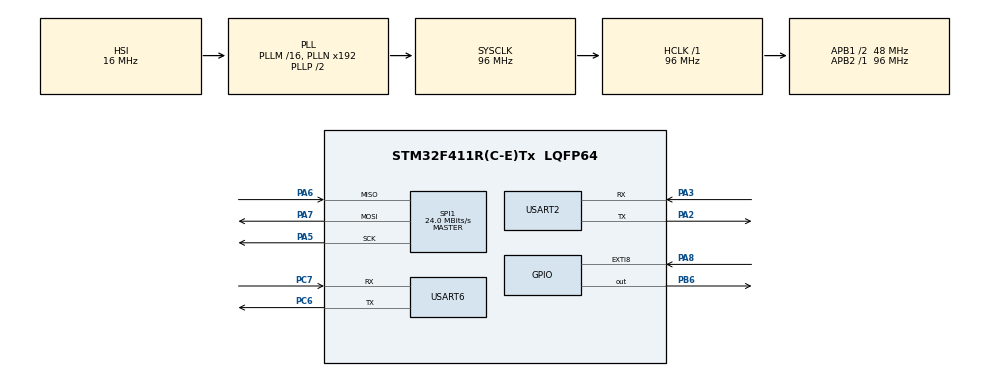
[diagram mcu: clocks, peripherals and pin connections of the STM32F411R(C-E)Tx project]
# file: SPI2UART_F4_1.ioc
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Mcu.Family=STM32F4
Mcu.Name=STM32F411R(C-E)Tx
Mcu.Package=LQFP64
NVIC.EXTI9_5_IRQn=true\:0\:0\:false\:false\:true\:true\:true
NVIC.PriorityGroup=NVIC_PRIORITYGROUP_4
NVIC.RCC_IRQn=true\:0\:0\:false\:false\:true\:true\:false
NVIC.SPI1_IRQn=true\:0\:0\:false\:false\:true\:true\:true
NVIC.USART2_IRQn=true\:0\:0\:false\:false\:true\:true\:true
NVIC.USART6_IRQn=true\:0\:0\:false\:false\:true\:true\:true
PA13.Mode=Serial_Wire
PA13.Signal=SYS_JTMS-SWDIO
PA14.Mode=Serial_Wire
PA14.Signal=SYS_JTCK-SWCLK
PA2.Mode=Asynchronous
PA2.Signal=USART2_TX
PA3.Mode=Asynchronous
PA3.Signal=USART2_RX
PA5.Mode=Full_Duplex_Master
PA5.Signal=SPI1_SCK
PA6.Mode=Full_Duplex_Master
PA6.Signal=SPI1_MISO
PA7.Mode=Full_Duplex_Master
PA7.Signal=SPI1_MOSI
PA8.GPIO_ModeDefaultEXTI=GPIO_MODE_IT_RISING
PA8.GPIO_PuPd=GPIO_NOPULL
PA8.Signal=GPXTI8
PB6.GPIO_PuPd=GPIO_NOPULL
PB6.GPIO_Speed=GPIO_SPEED_FREQ_HIGH
PB6.Signal=GPIO_Output
PC14-OSC32_IN.Mode=LSE-External-Oscillator
PC14-OSC32_IN.Signal=RCC_OSC32_IN
PC15-OSC32_OUT.Mode=LSE-External-Oscillator
PC15-OSC32_OUT.Signal=RCC_OSC32_OUT
PC6.Mode=Asynchronous
PC6.Signal=USART6_TX
PC7.Mode=Asynchronous
PC7.Signal=USART6_RX
PH0\ -\ OSC_IN.Mode=HSE-External-Clock-Source
PH0\ -\ OSC_IN.Signal=RCC_OSC_IN
PH1\ -\ OSC_OUT.Mode=HSE-External-Clock-Source
PH1\ -\ OSC_OUT.Signal=RCC_OSC_OUT
ProjectManager.HeapSize=0x200
ProjectManager.StackSize=0x400
ProjectManager.TargetToolchain=MDK-ARM V5
RCC.AHBFreq_Value=96000000
RCC.APB1CLKDivider=RCC_HCLK_DIV2
RCC.APB1Freq_Value=48000000
RCC.APB1TimFreq_Value=96000000
RCC.APB2Freq_Value=96000000
RCC.APB2TimFreq_Value=96000000
RCC.CortexFreq_Value=96000000
RCC.HCLKFreq_Value=96000000
RCC.HSE_VALUE=25000000
RCC.HSI_VALUE=16000000
RCC.SYSCLKFreq_VALUE=96000000
RCC.SYSCLKSource=RCC_SYSCLKSOURCE_PLLCLK
RCC.VCOOutputFreq_Value=192000000
SPI1.BaudRatePrescaler=SPI_BAUDRATEPRESCALER_4
SPI1.CalculateBaudRate=24.0 MBits/s
SPI1.Direction=SPI_DIRECTION_2LINES
SPI1.Mode=SPI_MODE_MASTER
SPI1.VirtualType=VM_MASTER
USART2.VirtualMode=VM_ASYNC
USART6.VirtualMode=VM_ASYNC
board=custom

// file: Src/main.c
/* USER CODE BEGIN Header */
/**
  ******************************************************************************
  * @file           : main.c
  * @brief          : Main program body
  ******************************************************************************
  * @attention
  *
  * <h2><center>&copy; Copyright (c) 2019 STMicroelectronics.
  * All rights reserved.</center></h2>
  *
  * This software component is licensed by ST under BSD 3-Clause license,
  * the "License"; You may not use this file except in compliance with the
  * License. You may obtain a copy of the License at:
  *                        opensource.org/licenses/BSD-3-Clause
  *
  ******************************************************************************
  */
/* USER CODE END Header */

#include "main.h"

/* USER CODE BEGIN Includes */
#include "stdio.h"
#include "string.h"
#include "stdlib.h"
/* USER CODE END Includes */

/* USER CODE BEGIN PTD */
#define SPI_RX_DESC_NUM			10

#define SPI_REG_TIMEOUT			200
#define SPI_TIMEOUT				100		// 200mS

#define SPI_REG_INT_STTS		0x06
#define SPI_REG_RX_DAT_LEN		0x02
#define SPI_REG_TX_BUFF_AVAIL	0x03
#define SPI_CMD_RX_DATA			0x10
#define SPI_CMD_TX_CMD			0x91
#define SPI_CMD_TX_DATA			0x90
#define SPI_CS_OFF				HAL_GPIO_WritePin(GPIOB, GPIO_PIN_6, GPIO_PIN_RESET)
#define SPI_CS_ON				HAL_GPIO_WritePin(GPIOB, GPIO_PIN_6, GPIO_PIN_SET)
#define SPI_INT_STTS			HAL_GPIO_ReadPin(GPIOA, GPIO_PIN_8)

#define debug 					0
#define debug1 					0
/* USER CODE END PTD */

/* USER CODE BEGIN PD */
#define KEIL //KEIL ,True_STD
/* USER CODE END PD */

SPI_HandleTypeDef hspi1;

UART_HandleTypeDef huart2;
UART_HandleTypeDef huart6;

/* USER CODE BEGIN PV */
uint8_t RX_BUFFER[512];
uint8_t RX_BUFFER_U6[512];
uint8_t SPI_TX_BUFF[1048];
uint8_t SPI_RX_BUFF[1048];
uint8_t RX_Flag = 0;
uint16_t RX_Index = 0;
uint8_t RX_Flag_U6 = 0;
uint16_t RX_Index_U6 = 0;
uint8_t Spi_rx_flag = 0;
uint8_t transmode = 0;
uint8_t sendmode = 0;
int sendsize = 0;
uint8_t WizFi360_Boot = 0;
uint16_t TransBootCnt = 0;
uint16_t recv_cnt = 0;
/* USER CODE END PV */

void SystemClock_Config(void);
static void MX_GPIO_Init(void);
static void MX_SPI1_Init(void);
static void MX_USART2_UART_Init(void);
static void MX_USART6_UART_Init(void);
/* USER CODE BEGIN PFP */
int Int2StrNull(char *data);
void SPI_SEND(uint8_t type, uint8_t *data, uint16_t len);
int CMD_check_mode(void);
int recv_check_message(void);
int SPI_RECV(void);
uint16_t SPI_Read_Register(uint8_t CMD);
uint16_t  SPI_Read_STTS(void);
#ifdef KEIL
     #ifdef __GNUC__
     //With GCC, small printf (option LD Linker->Libraries->Small printf
     //set to 'Yes') calls __io_putchar()
         #define PUTCHAR_PROTOTYPE int __io_putchar(int ch)
		#else
				 #define PUTCHAR_PROTOTYPE int fputc(int ch, FILE *f)
		#endif /* __GNUC__*/
#if 1
PUTCHAR_PROTOTYPE
{
	HAL_UART_Transmit(&huart6, (uint8_t *)&ch, 1, 0xFFFF);
	return ch;
}
				 #endif
#endif

#ifdef True_STD
int _write(int fd, char *str, int len)
{
	for(int i=0; i<len; i++)
	{
		HAL_UART_Transmit(&huart2, (uint8_t *)&str[i], 1, 0xFFFF);
	}
	return len;
}
#endif
uint8_t rxData;
void HAL_UART_RxCpltCallback(UART_HandleTypeDef *huart) {

	/*
			This will be called once data is received successfully,
			via interrupts.
	*/

	 /*
		 loop back received data
	 */
	 //uart2_recv_func();
	 //massage input end enter key flag
	#if 0
	 URX_BUF[URX_BUF_cnt++] = rxData;
	 if((rxData == '\r') ||(URX_BUF_cnt > 512))
	 {
		 URX_BUF_Flag = 1;
	 }
	#endif
}
void HAL_GPIO_EXTI_Callback(uint16_t GPIO_Pin)
{
	if(GPIO_Pin == GPIO_PIN_8)
	{
		Spi_rx_flag = 1;
    //SPI_RECV_Proc();
	}
}
/* USER CODE END PFP */

/* USER CODE BEGIN 0 */
void uart2_recv_func(uint8_t Data)
{
  //HAL_UART_Receive_IT(&huart2, &rxData, 1);
	 //HAL_UART_Transmit(&huart2, &rxData, 1, 1000);
	RX_BUFFER[RX_Index++] = Data;
  if(sendmode == 1)
  {
    if(RX_Index >= sendsize)
    {
      RX_BUFFER[RX_Index] = 0;
      RX_Flag = 1;
      //sendmode = 0;
      sendsize = 0;
    }
  }
	else
  {
    if(Data == '\n')
    {
      RX_BUFFER[RX_Index] = 0;
      RX_Flag = 1;
    }
    else if (RX_Index==3&&(RX_BUFFER[0]=='+')&&(RX_BUFFER[1]=='+')&&(RX_BUFFER[2]=='+'))
    {
      transmode = 0;
      RX_BUFFER[RX_Index] = 0;
      RX_Flag = 1;
    }
  }
}
void uart6_recv_func(uint8_t Data)
{
  RX_BUFFER_U6[RX_Index_U6++] = Data;
	if(Data == '\r')
	{
    RX_BUFFER_U6[RX_Index_U6] = 0;
		RX_Flag_U6 = 1;
	}
}
/* USER CODE END 0 */

int main(void)
{
  /* USER CODE BEGIN 1 */
  int temp_delay = 60000;
  int temp_cnt = 0;
  int SPI_RECV_LEN = 0;
  /* USER CODE END 1 */

  /* MCU Configuration--------------------------------------------------------*/

  /* Reset of all peripherals, Initializes the Flash interface and the Systick. */
  HAL_Init();

  /* Configure the system clock */
  SystemClock_Config();

  /* Initialize all configured peripherals */
  MX_GPIO_Init();
  MX_SPI1_Init();
  MX_USART2_UART_Init();
  MX_USART6_UART_Init();
  /* USER CODE BEGIN 2 */
	HAL_UART_Receive_IT(&huart2, &rxData, 1);
  HAL_UART_Receive_IT(&huart6, &rxData, 1);
  /* USER CODE END 2 */

  /* Infinite loop */
  /* USER CODE BEGIN WHILE */
	//while(SPI_INT_STTS == 1);
  #if 0
  while(temp_cnt-->0)
  {
    if(SPI_INT_STTS==0)
		{
			if(temp_cnt>10000)
			{
				break;
			}
		}
  }
  temp_cnt = 100000;
  #endif
  HAL_Delay(1000);
	printf("----------------------------------------------------\r\n");
	printf("||         WizFi360 SPI to UART Test Program       ||\r\n");
	printf("||                   Ver 0.1                       ||\r\n");
	printf("----------------------------------------------------\r\n");
  while (1)
  {
    if(RX_Flag == 1)
    {
      printf("[%d]%s", RX_Index, RX_BUFFER);
      if(transmode == 1)
      {
        //
      }else if (sendmode == 1)
      {
        sendmode = 0;
      }
      else
      {
        /* code */
        CMD_check_mode();
      }
      //CMD_check_mode();
      SPI_SEND(0, RX_BUFFER, RX_Index);
      RX_Flag = 0;
      RX_Index = 0;
    }

    if(Spi_rx_flag||(SPI_INT_STTS == 0))
    {
			//printf("spi input %d\r\n", Spi_rx_flag);
      SPI_RECV_LEN = SPI_RECV();
      if(SPI_RECV_LEN>0)
      //if(SPI_RECV()>0)
      {
        //printf("spi DATA LEN %d\r\n", SPI_RECV_LEN);
        recv_check_message();
      }
      Spi_rx_flag = 0;
    }
    if(RX_Flag_U6 == 1)
    {
      printf("%s",RX_BUFFER_U6);
      if(strncmp((char *)RX_BUFFER_U6, "check", 5) == 0)
      {
        SPI_Read_STTS();
      }
      RX_Flag_U6 = 0;
      RX_Index_U6 = 0;
    }
    if(--temp_cnt <= 0)
    {
      temp_cnt = 900000;
      //printf("idle SPI STATUS[%d]\r\n", SPI_INT_STTS);
    }
    /* USER CODE END WHILE */

  }
}

void SystemClock_Config(void)
{
  RCC_OscInitTypeDef RCC_OscInitStruct = {0};
  RCC_ClkInitTypeDef RCC_ClkInitStruct = {0};

  /** Configure the main internal regulator output voltage
  */
  __HAL_RCC_PWR_CLK_ENABLE();
  __HAL_PWR_VOLTAGESCALING_CONFIG(PWR_REGULATOR_VOLTAGE_SCALE1);
  /** Initializes the CPU, AHB and APB busses clocks
  */
  RCC_OscInitStruct.OscillatorType = RCC_OSCILLATORTYPE_HSI;
  RCC_OscInitStruct.HSIState = RCC_HSI_ON;
  RCC_OscInitStruct.HSICalibrationValue = RCC_HSICALIBRATION_DEFAULT;
  RCC_OscInitStruct.PLL.PLLState = RCC_PLL_ON;
  RCC_OscInitStruct.PLL.PLLSource = RCC_PLLSOURCE_HSI;
  RCC_OscInitStruct.PLL.PLLM = 16;
  RCC_OscInitStruct.PLL.PLLN = 192;
  RCC_OscInitStruct.PLL.PLLP = RCC_PLLP_DIV2;
  RCC_OscInitStruct.PLL.PLLQ = 4;
  if (HAL_RCC_OscConfig(&RCC_OscInitStruct) != HAL_OK)
  {
    Error_Handler();
  }
  /** Initializes the CPU, AHB and APB busses clocks
  */
  RCC_ClkInitStruct.ClockType = RCC_CLOCKTYPE_HCLK|RCC_CLOCKTYPE_SYSCLK
                              |RCC_CLOCKTYPE_PCLK1|RCC_CLOCKTYPE_PCLK2;
  RCC_ClkInitStruct.SYSCLKSource = RCC_SYSCLKSOURCE_PLLCLK;
  RCC_ClkInitStruct.AHBCLKDivider = RCC_SYSCLK_DIV1;
  RCC_ClkInitStruct.APB1CLKDivider = RCC_HCLK_DIV2;
  RCC_ClkInitStruct.APB2CLKDivider = RCC_HCLK_DIV1;

  if (HAL_RCC_ClockConfig(&RCC_ClkInitStruct, FLASH_LATENCY_3) != HAL_OK)
  {
    Error_Handler();
  }
}

static void MX_SPI1_Init(void)
{

  /* SPI1 parameter configuration*/
  hspi1.Instance = SPI1;
  hspi1.Init.Mode = SPI_MODE_MASTER;
  hspi1.Init.Direction = SPI_DIRECTION_2LINES;
  hspi1.Init.DataSize = SPI_DATASIZE_8BIT;
  hspi1.Init.CLKPolarity = SPI_POLARITY_LOW;
  hspi1.Init.CLKPhase = SPI_PHASE_1EDGE;
  hspi1.Init.NSS = SPI_NSS_SOFT;
  hspi1.Init.BaudRatePrescaler = SPI_BAUDRATEPRESCALER_4;
  hspi1.Init.FirstBit = SPI_FIRSTBIT_MSB;
  hspi1.Init.TIMode = SPI_TIMODE_DISABLE;
  hspi1.Init.CRCCalculation = SPI_CRCCALCULATION_DISABLE;
  hspi1.Init.CRCPolynomial = 10;
  if (HAL_SPI_Init(&hspi1) != HAL_OK)
  {
    Error_Handler();
  }

}

static void MX_USART2_UART_Init(void)
{

  huart2.Instance = USART2;
  huart2.Init.BaudRate = 115200;
  huart2.Init.WordLength = UART_WORDLENGTH_8B;
  huart2.Init.StopBits = UART_STOPBITS_1;
  huart2.Init.Parity = UART_PARITY_NONE;
  huart2.Init.Mode = UART_MODE_TX_RX;
  huart2.Init.HwFlowCtl = UART_HWCONTROL_NONE;
  huart2.Init.OverSampling = UART_OVERSAMPLING_16;
  if (HAL_UART_Init(&huart2) != HAL_OK)
  {
    Error_Handler();
  }

}

static void MX_USART6_UART_Init(void)
{

  huart6.Instance = USART6;
  huart6.Init.BaudRate = 115200;
  huart6.Init.WordLength = UART_WORDLENGTH_8B;
  huart6.Init.StopBits = UART_STOPBITS_1;
  huart6.Init.Parity = UART_PARITY_NONE;
  huart6.Init.Mode = UART_MODE_TX_RX;
  huart6.Init.HwFlowCtl = UART_HWCONTROL_NONE;
  huart6.Init.OverSampling = UART_OVERSAMPLING_16;
  if (HAL_UART_Init(&huart6) != HAL_OK)
  {
    Error_Handler();
  }

}

static void MX_GPIO_Init(void)
{
  GPIO_InitTypeDef GPIO_InitStruct = {0};

  /* GPIO Ports Clock Enable */
  __HAL_RCC_GPIOC_CLK_ENABLE();
  __HAL_RCC_GPIOH_CLK_ENABLE();
  __HAL_RCC_GPIOA_CLK_ENABLE();
  __HAL_RCC_GPIOB_CLK_ENABLE();

  /*Configure GPIO pin Output Level */
  HAL_GPIO_WritePin(GPIOB, GPIO_PIN_6, GPIO_PIN_RESET);

  /*Configure GPIO pin : PA8 */
  GPIO_InitStruct.Pin = GPIO_PIN_8;
  GPIO_InitStruct.Mode = GPIO_MODE_IT_RISING;
  GPIO_InitStruct.Pull = GPIO_NOPULL;
  HAL_GPIO_Init(GPIOA, &GPIO_InitStruct);

  /*Configure GPIO pin : PB6 */
  GPIO_InitStruct.Pin = GPIO_PIN_6;
  GPIO_InitStruct.Mode = GPIO_MODE_OUTPUT_PP;
  GPIO_InitStruct.Pull = GPIO_NOPULL;
  GPIO_InitStruct.Speed = GPIO_SPEED_FREQ_HIGH;
  HAL_GPIO_Init(GPIOB, &GPIO_InitStruct);

  /* EXTI interrupt init*/
  HAL_NVIC_SetPriority(EXTI9_5_IRQn, 0, 0);
  HAL_NVIC_EnableIRQ(EXTI9_5_IRQn);

}

/* USER CODE BEGIN 4 */

// int to string untill null
int Int2StrNull(char *data)
{
  char temp_data[5];
  int temp_cnt = 0;
  int result = 0;
  while(!((*data == NULL)||(*data == '\r')||(*data == '\n')))
  {
    //str to int
    temp_data[temp_cnt++] = *data;
    data++;
    if(temp_cnt>5)
      return -1;
  }
  temp_data[temp_cnt]=0;
  result = atoi(temp_data);
  return result;
}
//SPI Read Register
uint16_t SPI_Read_Register(uint8_t CMD)
{
  uint8_t dum = 0xFF,rx_temp[2]={0,};
  uint16_t ret = 0;
  HAL_SPI_TransmitReceive(&hspi1, &CMD, &dum, 1, 10);
  dum = 0xFF;
  #if 1
  HAL_SPI_TransmitReceive(&hspi1, &dum, &rx_temp[0], 1, 10);
  HAL_SPI_TransmitReceive(&hspi1, &dum, &rx_temp[1], 1, 10);
  #else
  HAL_SPI_TransmitReceive(&hspi1, &dum, rx_temp, 2, 10);
  #endif
  ret = rx_temp[0] | (rx_temp[1] << 8);
  return ret;
}
//SPI SEND Message
void SPI_SEND(uint8_t type, uint8_t *data, uint16_t len)
{
  #if 1
  //int i;
  //HAL_UART_Transmit(&huart1, data, len, 0xFFFF);
  //read TX_BUFF_AVAIL
  uint8_t temp_CMD, retry = 0, err = 0, dum2=0x00;
  uint16_t SPI_RX_REG = 0, TX_len;
  int temp_delay = 10000;
  memset(SPI_TX_BUFF,0, sizeof(SPI_TX_BUFF));

  temp_CMD = SPI_REG_TX_BUFF_AVAIL;

  #if 1   //teddy 200807
  while((SPI_RX_REG != 0xffff) && (0 == SPI_RX_REG))
  #else
  while((SPI_RX_REG != 0xffff) && (0 == (SPI_RX_REG & 0x02)))
  #endif
  {
    retry++;
		SPI_CS_OFF;
    SPI_RX_REG = SPI_Read_Register(temp_CMD);
		SPI_CS_ON;
    #if 1
		printf("SPI_REG_TX_BUFF_AVAIL[%d]\r\n", SPI_RX_REG);
    #endif
    if(retry > SPI_TIMEOUT)
    {
      printf("SPI CMD timeout-------------------------------------------\r\n");
      retry = 0;
      err = 1;
      break;
    }
    #if 1
		printf("Retry[%d] [%02x]\r\n", retry, SPI_RX_REG);
    #endif
    while(--temp_delay > 1);
    temp_delay = 10000;
  }

  TX_len = len + 2;
  if(TX_len % 4)
  {
    TX_len = ((TX_len + 3)/4) << 2;
    //TX_len = (TX_len + 3) & 0xFFFC;
  }
  //printf("SPI_REG_TX_BUFF_AVAIL[%d]\r\n", SPI_RX_REG);
#if debug
  printf("SPI_REG_TX_BUFF_AVAIL[%d]\r\n", SPI_RX_REG);
  printf("TX Hex1 : ");
  for(i=0; i<RX_Index; i++)
  {
    printf("[%d]%0.2X ",i, RX_BUFFER[i]);
  }
  printf("\r\n");
#endif
  //printf("trans[%d][%d] : %s\r\n", len, TX_len, data);
  //printf("trans[%d][%d]\r\n", len, TX_len);
  if(err==0)
  {
    SPI_CS_OFF;
    if(type)
    {
      temp_CMD = SPI_CMD_TX_DATA;
    }
    else
    {
      temp_CMD = SPI_CMD_TX_CMD;
    }
    HAL_SPI_TransmitReceive(&hspi1, &temp_CMD, &dum2, 1, 10);
    memcpy(SPI_TX_BUFF , &len, sizeof(len));
    memcpy(SPI_TX_BUFF + 2, data, len);
    HAL_SPI_TransmitReceive(&hspi1, SPI_TX_BUFF, RX_BUFFER, TX_len, 10);

    SPI_CS_ON;
    #if 1
    printf("<<%s",SPI_TX_BUFF + 2);

    #else
    printf("%d [%0.2X %0.2X]%s \r\n",TX_len, SPI_TX_BUFF[0], SPI_TX_BUFF[1], SPI_TX_BUFF + 2);
    #endif
#if debug
    printf("TX Hex2 : ");
    for(i=0; i<TX_len; i++)
    {
      printf("[%d]%0.2X ",i, SPI_TX_BUFF[i]);
    }
    printf("\r\n");
#endif
  }
  #else
  int i;
  //HAL_UART_Transmit(&huart1, data, len, 0xFFFF);
  //read TX_BUFF_AVAIL
  uint8_t temp_CMD, retry = 0, err = 0, dum = 0xFF, dum2=0x00, rx_temp[2];
  uint16_t spi_rx_len = 0, TX_len;
  memset(SPI_TX_BUFF,0, sizeof(SPI_TX_BUFF));
  SPI_CS_OFF;
  temp_CMD = SPI_REG_TX_BUFF_AVAIL;

  while((spi_rx_len != 0xffff) && (0 == (spi_rx_len & 0x02)))
  {
    retry++;
    HAL_SPI_TransmitReceive(&hspi1, &temp_CMD, &dum2, 1, 10);
    HAL_SPI_TransmitReceive(&hspi1, &dum, &rx_temp[0], 1, 10);
    HAL_SPI_TransmitReceive(&hspi1, &dum, &rx_temp[1], 1, 10);
    spi_rx_len = rx_temp[0] | (rx_temp[1] << 8);

    if(retry > SPI_TIMEOUT)
    {
      printf("SPI CMD timeout\r\n");
      retry = 0;
      err = 1;
      break;
    }
  }
  SPI_CS_ON;
  TX_len = len + 2;
  if(TX_len % 4)
  {
    TX_len = ((TX_len + 3)/4) << 2;
    //TX_len = (TX_len + 3) & 0xFFFC;
  }
  //printf("SPI_REG_TX_BUFF_AVAIL[%d]\r\n", spi_rx_len);
#if debug
  printf("SPI_REG_TX_BUFF_AVAIL[%d]\r\n", spi_rx_len);
  printf("TX Hex1 : ");
  for(i=0; i<RX_Index; i++)
  {
    printf("[%d]%0.2X ",i, RX_BUFFER[i]);
  }
  printf("\r\n");
#endif
  //printf("trans[%d][%d] : %s\r\n", len, TX_len, data);
  //printf("trans[%d][%d]\r\n", len, TX_len);
  if(err==0)
  {
    SPI_CS_OFF;
    if(type)
    {
      temp_CMD = SPI_CMD_TX_DATA;
    }
    else
    {
      temp_CMD = SPI_CMD_TX_CMD;
    }
    HAL_SPI_TransmitReceive(&hspi1, &temp_CMD, &dum2, 1, 10);
    memcpy(SPI_TX_BUFF , &len, sizeof(len));
    memcpy(SPI_TX_BUFF + 2, data, len);
    HAL_SPI_TransmitReceive(&hspi1, SPI_TX_BUFF, RX_BUFFER, TX_len, 10);

    SPI_CS_ON;
    //printf("%d [%0.2X %0.2X]%s \r\n",TX_len, SPI_TX_BUFF[0], SPI_TX_BUFF[1], SPI_TX_BUFF + 2);
#if debug
    printf("TX Hex2 : ");
    for(i=0; i<TX_len; i++)
    {
      printf("[%d]%0.2X ",i, SPI_TX_BUFF[i]);
    }
    printf("\r\n");
#endif
  }
  #endif
}
// SPI Receive
int SPI_RECV(void)
{
  #if 1
  uint8_t temp_CMD, dum = 0xFF, dum2=0x00;
  uint16_t SPI_RX_REG = 0;

#if debug1
  printf("SPI Interrupt input\r\n");
#endif
  SPI_CS_OFF;
  temp_CMD = SPI_REG_INT_STTS;
  SPI_RX_REG = SPI_Read_Register(temp_CMD);;
  SPI_CS_ON;
  if(SPI_RX_REG != 1)
    return 0;
#if 1
  printf("SPI_REG_INT_STTS[%x]\r\n", SPI_RX_REG);
#endif
  if((SPI_RX_REG != 0xffff) && (SPI_RX_REG & 0x01))
  {
    SPI_CS_OFF;
    temp_CMD = SPI_REG_RX_DAT_LEN;
    SPI_RX_REG = SPI_Read_Register(temp_CMD);
    SPI_CS_ON;
  }
#if 1
    printf("SPI_REG_RX_DAT_LEN[%d]\r\n", SPI_RX_REG);
#endif
  if(SPI_RX_REG > 0)
  {
    SPI_CS_OFF;
    temp_CMD = SPI_CMD_RX_DATA;
    HAL_SPI_TransmitReceive(&hspi1, &temp_CMD, &dum2, 1, 10);
    HAL_SPI_TransmitReceive(&hspi1, &dum, SPI_RX_BUFF, SPI_RX_REG, 10);
    SPI_RX_BUFF[SPI_RX_REG] = 0;
    #if 0
    for(i=0; i<SPI_RX_REG; i++)
    {
      EnQueue(SPI_RX_BUFF[i]);
    }
    #endif
    SPI_CS_ON;
    #if 1 //teddy 191111
    #if 0
    if(get_Socket_status() == 0)
    {
      for(i=0; i<SPI_RX_REG; i++)
      {
        EnQueue(SPI_RX_BUFF[i]);
      }
    }
    else
    {
      SPI_Input_Data_Proc(SPI_RX_REG, SPI_RX_BUFF);
    }
    #endif
    #else
    for(i=0; i<SPI_RX_REG; i++)
    {
      EnQueue(SPI_RX_BUFF[i]);
    }
    #endif
#if debug1
    printf("RX Hex : ");
    for(i=0; i<SPI_RX_REG; i++)
    {
      printf("[%d]%0.2X ",i, SPI_RX_BUFF[i]);
    }
    printf("\r\n");
#endif
    #if 1
    printf(">>%s",SPI_RX_BUFF);
    HAL_UART_Transmit(&huart2, (uint8_t *)SPI_RX_BUFF, SPI_RX_REG, 0xFFFF);
    #else
    printf("RX[%d]:[%s]\r\n", SPI_RX_REG, SPI_RX_BUFF);
    //printf("RX[%d]\r\n", SPI_RX_REG);
    #endif
    return SPI_RX_REG;
  }
  #else
  uint8_t temp_CMD, dum = 0xFF, dum2=0x00,rx_temp[2]={0,0};
  uint16_t spi_rx_len = 0;
  uint16_t i;

#if debug1
  printf("SPI Interrupt input\r\n");
#endif
  SPI_CS_OFF;
  temp_CMD = SPI_REG_INT_STTS;
  HAL_SPI_TransmitReceive(&hspi1, &temp_CMD, &dum2, 1, 10);
  HAL_SPI_TransmitReceive(&hspi1, &dum, &rx_temp[0], 1, 10);
  HAL_SPI_TransmitReceive(&hspi1, &dum, &rx_temp[1], 1, 10);
  spi_rx_len = rx_temp[0] | (rx_temp[1] << 8);
  SPI_CS_ON;
#if 0
  printf("SPI_REG_INT_STTS[%d]\r\n", spi_rx_len);
#endif
  if((spi_rx_len != 0xffff) && (spi_rx_len & 0x01))
  {
    SPI_CS_OFF;
    temp_CMD = SPI_REG_RX_DAT_LEN;
    HAL_SPI_TransmitReceive(&hspi1, &temp_CMD, &dum2, 1, 10);
    HAL_SPI_TransmitReceive(&hspi1, &dum, &rx_temp[0], 1, 10);
    HAL_SPI_TransmitReceive(&hspi1, &dum, &rx_temp[1], 1, 10);
    spi_rx_len = rx_temp[0] | (rx_temp[1] << 8);
    SPI_CS_ON;
  }
#if debug1
    printf("SPI_REG_RX_DAT_LEN[%d]\r\n", spi_rx_len);
#endif
  if(spi_rx_len > 0)
  {
    SPI_CS_OFF;
    temp_CMD = SPI_CMD_RX_DATA;
    HAL_SPI_TransmitReceive(&hspi1, &temp_CMD, &dum2, 1, 10);
    HAL_SPI_TransmitReceive(&hspi1, &dum, SPI_RX_BUFF, spi_rx_len, 10);
    SPI_RX_BUFF[spi_rx_len] = 0;
    #if 0
    for(i=0; i<spi_rx_len; i++)
    {
      EnQueue(SPI_RX_BUFF[i]);
    }
    #endif
    SPI_CS_ON;
    #if 1 //teddy 191111
    #if 0
    if(get_Socket_status() == 0)
    {
      for(i=0; i<spi_rx_len; i++)
      {
        EnQueue(SPI_RX_BUFF[i]);
      }
    }
    else
    {
      SPI_Input_Data_Proc(spi_rx_len, SPI_RX_BUFF);
    }
    #endif
    #else
    for(i=0; i<spi_rx_len; i++)
    {
      EnQueue(SPI_RX_BUFF[i]);
    }
    #endif
#if debug1
    printf("RX Hex : ");
    for(i=0; i<spi_rx_len; i++)
    {
      printf("[%d]%0.2X ",i, SPI_RX_BUFF[i]);
    }
    printf("\r\n");
#endif
		printf("%s", SPI_RX_BUFF);
    //printf("RX[%d]:[%s]\r\n", spi_rx_len, SPI_RX_BUFF);
    //printf("RX[%d]\r\n", spi_rx_len);
    return 1;
  }
  #endif
  return 0;
}
uint16_t  SPI_Read_STTS(void)
{
  uint8_t temp_CMD;
  uint16_t SPI_RX_REG = 0;

#if debug1
  printf("SPI Interrupt input\r\n");
#endif
  SPI_CS_OFF;
  temp_CMD = SPI_REG_INT_STTS;
  SPI_RX_REG = SPI_Read_Register(temp_CMD);;
  SPI_CS_ON;
  printf("SPI_INT_STTS %08x\r\n", SPI_RX_REG);
  SPI_RX_REG = 0;
  SPI_CS_OFF;
  temp_CMD = SPI_REG_RX_DAT_LEN;
  SPI_RX_REG = SPI_Read_Register(temp_CMD);
  SPI_CS_ON;
  printf("SPI_RXDATLEN %08x %d\r\n", SPI_RX_REG, SPI_RX_REG);
  if(SPI_RX_REG > 0)
  {
    SPI_RECV();
  }
  return 0;
}
int CMD_check_mode(void)
{
  if(strncmp((char *)RX_BUFFER, "AT+CIPMODE=", 11) == 0)
  {
    //CIP MODE
    if(RX_BUFFER[11]=='1')
    {
      //1
      transmode = 1;
    }
    else if(RX_BUFFER[11]=='0')
    {
      //0
      transmode = 0;
    }
    else
    {
      /* error code */
      printf("CMD Value Error!!\r\n");
    }
  }
  else if(strncmp((char *)RX_BUFFER, "AT+CIPSEND", 10) == 0)
  {
    //send func
    printf("<CMD CIPSEND> RX_BUFFER[10]= %c\r\n", RX_BUFFER[10]);
    if(RX_BUFFER[10]=='=')
    {
      // CIPSEND
      sendsize = Int2StrNull((char *)RX_BUFFER+11);
      if(sendsize > 0)
      {
        sendmode = 1;
      }
      else
      {
        /* error code */
        printf("CMD SEND SIZE Error!!\r\n");
      }
      printf("S:%s I:%d \r\n", RX_BUFFER+11, sendsize);
    }
    else if(strncmp((char *)RX_BUFFER+10, "BUF=", 4) == 0)
    {
      // CIPSENDBUF
      sendsize = Int2StrNull((char *)RX_BUFFER+14);
      if(sendsize > 0)
      {
        sendmode = 1;
      }
      else
      {
        /* error code */
        printf("CMD SEND BUF SIZE Error!!\r\n");
      }
      printf("S:%s I:%d \r\n", RX_BUFFER+11, sendsize);
    }
    else if(strncmp((char *)RX_BUFFER+10, "EX=", 3) == 0)
    {
      // CIP SENDEX
      sendsize = Int2StrNull((char *)RX_BUFFER+13);
      if(sendsize > 0)
      {
        sendmode = 1;
      }
      else
      {
        /* error code */
        printf("CMD SEND EX SIZE Error!!\r\n");
      }
      printf("S:%s I:%d \r\n", RX_BUFFER+11, sendsize);
    }
  }
  return 0;
}
int recv_check_message(void)
{
  //SPI_RX_BUFF, SPI_RX_REG
  if(sendmode == 1) //send mode
  {
    if(strncmp((char *)SPI_RX_BUFF,"link is not valid", 17) == 0)
    {
      printf("send error!! \r\n");
      sendmode = 0;
    }
  }else if(transmode == 0)
  {//WizFi360_Boot
    if(strncmp((char *)SPI_RX_BUFF,"\r\nready", 5) == 0)
    {
      WizFi360_Boot = 1;
      TransBootCnt = 0;
      printf("WizFi360 Boot\r\n");
    }
    if(WizFi360_Boot == 1)
    {
      TransBootCnt++;
      if(strncmp((char *)SPI_RX_BUFF,"CONNECT\r\n", 9) == 0)
      {
        printf("WizFi360 Server Connect \r\n");
        #if 0
        if(TransBootCnt < 10)
        {
          printf("WizFi360 Transmode start \r\n");
          transmode = 1;
        }
        #endif
      }
    }
  }
	return 0;
}
/* USER CODE END 4 */

void Error_Handler(void)
{
}

/************************ (C) COPYRIGHT STMicroelectronics *****END OF FILE****/
